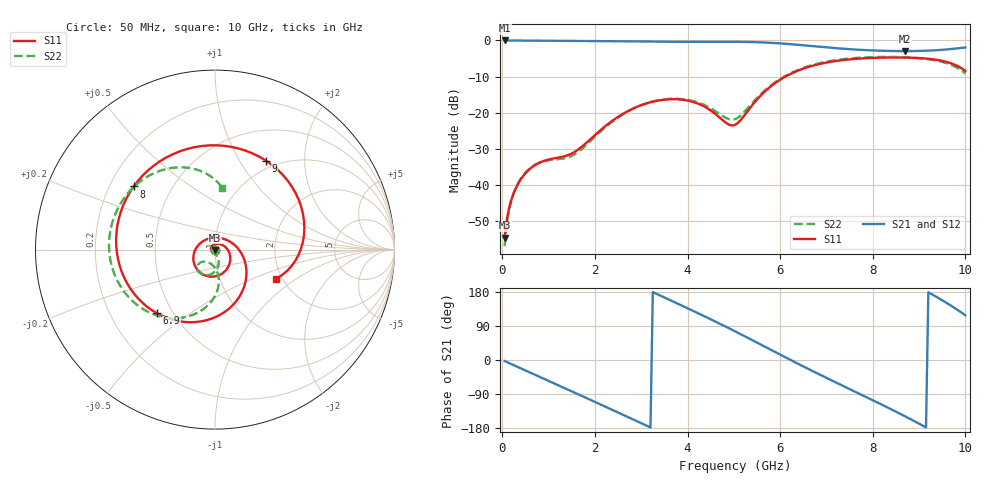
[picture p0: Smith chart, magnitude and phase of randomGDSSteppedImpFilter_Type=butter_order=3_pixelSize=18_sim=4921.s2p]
! freq	dB(S11)	phase(S11)	dB(S12)	phase(S12)
!  dB(S21)	phase(S21)	dB(S22)	phase(S22)
!S-par simulation data
#  GHz  S  DB  R 50
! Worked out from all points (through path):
!   200 points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, 50 MHz to 10 GHz, reference 50 ohm
!   highest |S21| = 0.00 dB at 50 MHz (marker M1); lowest = -3.0 dB at 8.7 GHz (marker M2)
!   group delay of S21, straight-line fit = 165 ps
!   lowest |S11| = -54.5 dB at 50 MHz (marker M3), VSWR 1.00, Z = 50 - j0.186 ohm
!   |S11| at or under -10 dB: start of sweep to 6.114 GHz
!   |S22| runs from -56.9 to -4.5 dB; largest |S21 - S12| = 0
!   S11 on the Smith chart (normalised r, x): 50 MHz: 1.00, -0.00; 6.9 GHz: 0.41, -0.38; 8 GHz: 0.30, +0.31; 9 GHz: 0.89, +1.31; 10 GHz: 1.87, -0.70
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0.05  -54.55 -83.9  -0.00 -2.8  -0.00 -2.8  -56.92 -82.3
0.1  -49.38 -89.8  -0.01 -5.6  -0.01 -5.6  -50.34 -85.3
0.2  -43.95 -101.9  -0.02 -11.1  -0.02 -11.1  -43.96 -91.2
0.45  -37.51 -126.9  -0.04 -24.8  -0.04 -24.8  -37.30 -101.2
1.15  -32.56 157.3  -0.08 -63.4  -0.08 -63.4  -32.91 -107.4
1.75  -29.05 64.3  -0.12 -96.6  -0.12 -96.6  -29.68 -77.5
2.2  -23.97 9.1  -0.16 -121.7  -0.16 -121.7  -24.28 -71.3
2.65  -19.98 -31.6  -0.22 -147.0  -0.22 -147.0  -20.08 -81.1
3.4  -16.55 -89.0  -0.34 170.7  -0.34 170.7  -16.48 -107.9
4.3  -17.89 -160.8  -0.38 119.2  -0.38 119.2  -17.51 -137.0
5.05  -23.18 71.0  -0.37 74.2  -0.37 74.2  -21.65 -105.3
5.9  -11.72 -50.7  -0.73 20.6  -0.73 20.6  -11.49 -91.0
6.3  -8.81 -84.9  -1.11 -4.6  -1.11 -4.6  -8.62 -106.5
6.7  -7.00 -116.8  -1.56 -29.2  -1.56 -29.2  -6.79 -123.7
6.9  -6.37 -132.3  -1.80 -41.2  -1.80 -41.2  -6.15 -132.3
7.5  -5.24 -178.5  -2.42 -76.6  -2.42 -76.6  -4.99 -157.6
8  -4.83 142.2  -2.77 -106.1  -2.77 -106.1  -4.61 -177.9
8.35  -4.71 113.8  -2.91 -127.1  -2.91 -127.1  -4.55 167.8
8.7  -4.73 85.0  -2.95 -148.7  -2.95 -148.7  -4.66 153.1
9  -4.87 60.0  -2.91 -168.0  -2.91 -168.0  -4.92 139.7
9.5  -5.65 18.1  -2.59 157.6  -2.59 157.6  -5.97 114.3
10  -8.44 -25.3  -1.94 117.8  -1.94 117.8  -9.18 83.4
